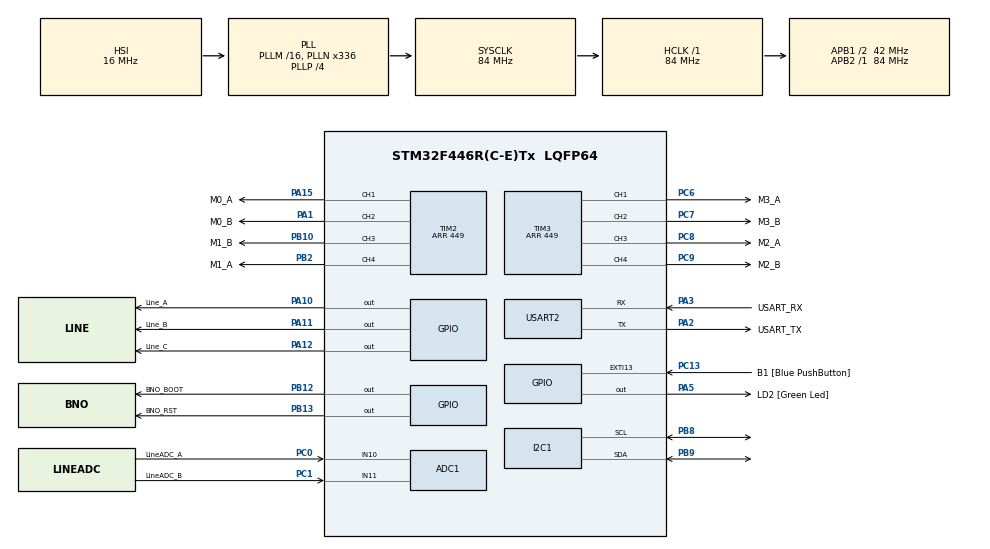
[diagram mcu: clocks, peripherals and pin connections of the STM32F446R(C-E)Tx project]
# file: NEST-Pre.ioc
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ADC1.Channel-0\#ChannelRegularConversion=ADC_CHANNEL_10
ADC1.NbrOfConversionFlag=1
ADC1.Rank-0\#ChannelRegularConversion=1
ADC1.SamplingTime-0\#ChannelRegularConversion=ADC_SAMPLETIME_3CYCLES
ADC1.master=1
I2C1.I2C_Mode=I2C_Fast
Mcu.Family=STM32F4
Mcu.Name=STM32F446R(C-E)Tx
Mcu.Package=LQFP64
NVIC.I2C1_ER_IRQn=true\:0\:0\:false\:false\:true\:true\:true\:true
NVIC.I2C1_EV_IRQn=true\:0\:0\:false\:false\:true\:true\:true\:true
NVIC.PriorityGroup=NVIC_PRIORITYGROUP_0
PA1.GPIO_Label=M0_B
PA1.Signal=S_TIM2_CH2
PA10.GPIO_Label=Line_A
PA10.Signal=GPIO_Output
PA11.GPIO_Label=Line_B
PA11.Signal=GPIO_Output
PA12.GPIO_Label=Line_C
PA12.Signal=GPIO_Output
PA13.GPIO_Label=TMS
PA13.Mode=Serial_Wire
PA13.Signal=SYS_JTMS-SWDIO
PA14.GPIO_Label=TCK
PA14.Mode=Serial_Wire
PA14.Signal=SYS_JTCK-SWCLK
PA15.GPIO_Label=M0_A
PA15.Signal=S_TIM2_CH1_ETR
PA2.GPIO_Label=USART_TX
PA2.Mode=Asynchronous
PA2.Signal=USART2_TX
PA3.GPIO_Label=USART_RX
PA3.Mode=Asynchronous
PA3.Signal=USART2_RX
PA5.GPIO_Label=LD2 [Green Led]
PA5.Signal=GPIO_Output
PB10.GPIO_Label=M1_B
PB10.Signal=S_TIM2_CH3
PB12.GPIO_Label=BNO_BOOT
PB12.Signal=GPIO_Output
PB13.GPIO_Label=BNO_RST
PB13.Signal=GPIO_Output
PB2.GPIO_Label=M1_A
PB2.Signal=S_TIM2_CH4
PB3.GPIO_Label=SWO
PB3.Signal=SYS_JTDO-SWO
PB8.Mode=I2C
PB8.Signal=I2C1_SCL
PB9.Mode=I2C
PB9.Signal=I2C1_SDA
PC0.GPIO_Label=LineADC_A
PC0.Signal=ADCx_IN10
PC1.GPIO_Label=LineADC_B
PC1.Signal=ADCx_IN11
PC13.GPIO_Label=B1 [Blue PushButton]
PC13.GPIO_ModeDefaultEXTI=GPIO_MODE_IT_FALLING
PC13.Signal=GPXTI13
PC14-OSC32_IN.Mode=LSE-External-Oscillator
PC14-OSC32_IN.Signal=RCC_OSC32_IN
PC15-OSC32_OUT.Mode=LSE-External-Oscillator
PC15-OSC32_OUT.Signal=RCC_OSC32_OUT
PC6.GPIO_Label=M3_A
PC6.Signal=S_TIM3_CH1
PC7.GPIO_Label=M3_B
PC7.Signal=S_TIM3_CH2
PC8.GPIO_Label=M2_A
PC8.Signal=S_TIM3_CH3
PC9.GPIO_Label=M2_B
PC9.Signal=S_TIM3_CH4
PH0-OSC_IN.Mode=HSE-External-Oscillator
PH0-OSC_IN.Signal=RCC_OSC_IN
PH1-OSC_OUT.Mode=HSE-External-Oscillator
PH1-OSC_OUT.Signal=RCC_OSC_OUT
ProjectManager.HeapSize=0x200
ProjectManager.StackSize=0x400
ProjectManager.TargetToolchain=STM32CubeIDE
RCC.48MHZClocksFreq_Value=84000000
RCC.AHBFreq_Value=84000000
RCC.APB1CLKDivider=RCC_HCLK_DIV2
RCC.APB1Freq_Value=42000000
RCC.APB1TimFreq_Value=84000000
RCC.APB2Freq_Value=84000000
RCC.APB2TimFreq_Value=84000000
RCC.CortexFreq_Value=84000000
RCC.FLatency-AdvancedSettings=FLASH_LATENCY_2
RCC.HCLKFreq_Value=84000000
RCC.HSE_VALUE=8000000
RCC.HSI_VALUE=16000000
RCC.PLLN=336
RCC.PLLP=RCC_PLLP_DIV4
RCC.SYSCLKFreq_VALUE=84000000
RCC.SYSCLKSource=RCC_SYSCLKSOURCE_PLLCLK
RCC.USBFreq_Value=168000000
RCC.VCOOutputFreq_Value=336000000
SH.ADCx_IN10.0=ADC1_IN10,IN10
SH.ADCx_IN11.0=ADC1_IN11,IN11
SH.S_TIM2_CH1_ETR.0=TIM2_CH1,PWM Generation1 CH1
SH.S_TIM2_CH2.0=TIM2_CH2,PWM Generation2 CH2
SH.S_TIM2_CH3.0=TIM2_CH3,PWM Generation3 CH3
SH.S_TIM2_CH4.0=TIM2_CH4,PWM Generation4 CH4
SH.S_TIM3_CH1.0=TIM3_CH1,PWM Generation1 CH1
SH.S_TIM3_CH2.0=TIM3_CH2,PWM Generation2 CH2
SH.S_TIM3_CH3.0=TIM3_CH3,PWM Generation3 CH3
SH.S_TIM3_CH4.0=TIM3_CH4,PWM Generation4 CH4
TIM2.Channel-PWM\ Generation1\ CH1=TIM_CHANNEL_1
TIM2.Channel-PWM\ Generation2\ CH2=TIM_CHANNEL_2
TIM2.Channel-PWM\ Generation3\ CH3=TIM_CHANNEL_3
TIM2.Channel-PWM\ Generation4\ CH4=TIM_CHANNEL_4
TIM2.Period=449
TIM3.Channel-PWM\ Generation1\ CH1=TIM_CHANNEL_1
TIM3.Channel-PWM\ Generation2\ CH2=TIM_CHANNEL_2
TIM3.Channel-PWM\ Generation3\ CH3=TIM_CHANNEL_3
TIM3.Channel-PWM\ Generation4\ CH4=TIM_CHANNEL_4
TIM3.Period=449
TIM5.Channel-Output\ Compare1\ No\ Output=TIM_CHANNEL_1
USART2.VirtualMode=VM_ASYNC
VP_TIM5_VS_no_output1.Mode=Output Compare1 No Output
board=NUCLEO-F446RE

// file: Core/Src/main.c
/* USER CODE BEGIN Header */
/**
 ******************************************************************************
 * @file           : main.c
 * @brief          : Main program body
 ******************************************************************************
 * @attention
 *
 * Copyright (c) 2024 STMicroelectronics.
 * All rights reserved.
 *
 * This software is licensed under terms that can be found in the LICENSE file
 * in the root directory of this software component.
 * If no LICENSE file comes with this software, it is provided AS-IS.
 *
 ******************************************************************************
 */
/* USER CODE END Header */
#include "main.h"

/* USER CODE BEGIN Includes */
#include <stdio.h>
#include <math.h>

#include "bno08x.h"
#include "bno08x_i2c_f446.h"
/* USER CODE END Includes */

ADC_HandleTypeDef hadc1;

I2C_HandleTypeDef hi2c1;

TIM_HandleTypeDef htim2;
TIM_HandleTypeDef htim3;
TIM_HandleTypeDef htim5;

UART_HandleTypeDef huart2;

/* USER CODE BEGIN PV */
#define DEG2RAD (M_PI / 180.0)
#define RAD2DEG (180.0 / M_PI)

#define COMPARE_DIV (512 / 498)
#define COMPRE_MAX (498)

#define WHEEL_R (1)
#define FR (45)
#define FL (-45)
#define RR (135)
#define RL (-135)

#define MOTOR_OUTPUT_PERIOD 5
#define ADC_SMPL_PERIOD 100

#define Kp 1200
#define Ti 10000
#define Td 0.05

#define LINE_SENSOR_NUM 16
#define LINE_SENSOR_OFFSET 0
#define LINE_SENSOR_VEC_MUL 1000
#define LINE_SENSOR_ONE_ANGLE (M_PI * 2 / LINE_SENSOR_NUM)

// all rad
float imu_x = 0;
float imu_y = 0;
float imu_roll = 0; // roll

float target_angle = 0;
float motor_angle_u = 0;

typedef struct {
	uint32_t x;
	uint32_t y;
} int32_vector2_t;

typedef struct {
	int32_t x;
	int32_t y;
} uint32_vector2_t;

typedef struct {
	float x;
	float y;
} float_vector2_t;

uint32_vector2_t line_vec[LINE_SENSOR_NUM] = { 0 };
/* USER CODE END PV */

void SystemClock_Config(void);
static void MX_GPIO_Init(void);
static void MX_USART2_UART_Init(void);
static void MX_TIM2_Init(void);
static void MX_TIM3_Init(void);
static void MX_I2C1_Init(void);
static void MX_TIM5_Init(void);
static void MX_ADC1_Init(void);

/* USER CODE BEGIN 0 */
int max_int(int val, int min, int max) {
	if (val > max) {
		return max;
	} else if (val < min) {
		return min;
	} else {
		return val;
	}
}

void set_fr(int p) {
	int ch_a = 0;
	int ch_b = 0;
	if (p > 0) {
		ch_a = (int) ((float) p / COMPARE_DIV);
		ch_b = 0;
	} else if (p < 0) {
		ch_a = 0;
		ch_b = (int) (-((float) p) / COMPARE_DIV);
	} else {
		ch_a = 0;
		ch_b = 0;
	}

	ch_a = max_int(ch_a, 0, COMPRE_MAX);
	ch_b = max_int(ch_b, 0, COMPRE_MAX);

	__HAL_TIM_SET_COMPARE(&htim2, TIM_CHANNEL_1, ch_a);
	__HAL_TIM_SET_COMPARE(&htim2, TIM_CHANNEL_2, ch_b);
}

// Motor

void set_fl(int p) {
	int ch_a = 0;
	int ch_b = 0;
	if (p > 0) {
		ch_a = (int) ((float) p / COMPARE_DIV);
		ch_b = 0;
	} else if (p < 0) {
		ch_a = 0;
		ch_b = (int) (-((float) p) / COMPARE_DIV);
	} else {
		ch_a = 0;
		ch_b = 0;
	}

	ch_a = max_int(ch_a, 0, COMPRE_MAX);
	ch_b = max_int(ch_b, 0, COMPRE_MAX);

	__HAL_TIM_SET_COMPARE(&htim3, TIM_CHANNEL_3, ch_a);
	__HAL_TIM_SET_COMPARE(&htim3, TIM_CHANNEL_4, ch_b);
}

void set_rr(int p) {
	int ch_a = 0;
	int ch_b = 0;
	if (p > 0) {
		ch_a = (int) ((float) p / COMPARE_DIV);
		ch_b = 0;
	} else if (p < 0) {
		ch_a = 0;
		ch_b = (int) (-((float) p) / COMPARE_DIV);
	} else {
		ch_a = 0;
		ch_b = 0;
	}

	ch_a = max_int(ch_a, 0, COMPRE_MAX);
	ch_b = max_int(ch_b, 0, COMPRE_MAX);

	__HAL_TIM_SET_COMPARE(&htim2, TIM_CHANNEL_3, ch_b); // Reversed
	__HAL_TIM_SET_COMPARE(&htim2, TIM_CHANNEL_4, ch_a); // Reversed
}

void set_rl(int p) {
	int ch_a = 0;
	int ch_b = 0;
	if (p > 0) {
		ch_a = (int) ((float) p / COMPARE_DIV);
		ch_b = 0;
	} else if (p < 0) {
		ch_a = 0;
		ch_b = (int) (-((float) p) / COMPARE_DIV);
	} else {
		ch_a = 0;
		ch_b = 0;
	}

	ch_a = max_int(ch_a, 0, COMPRE_MAX);
	ch_b = max_int(ch_b, 0, COMPRE_MAX);

	__HAL_TIM_SET_COMPARE(&htim3, TIM_CHANNEL_1, ch_a);
	__HAL_TIM_SET_COMPARE(&htim3, TIM_CHANNEL_2, ch_b);
}

// Thank you Shirokuma
float calcMotorSpeed(float angle, float speed, float motorAngle) {
	return sin((angle - motorAngle) * DEG2RAD) * speed;
}

float calcWorldMotorSpeed(float motorAngle, float wheel_r, float angle,
		float speed_x, float speed_y, float speed_angle) {
	return (-sin(angle + motorAngle) * cos(angle) * speed_x
			+ cos(angle + motorAngle) * cos(angle) * speed_y + speed_angle)
			/ wheel_r;
}

// -512 ~ 512
void move(float angle, float speed) {
	set_fr((int) calcMotorSpeed(angle, speed, 45));
	set_fl((int) calcMotorSpeed(angle, speed, -45));
	set_rr((int) calcMotorSpeed(angle, speed, 135));
	set_rl((int) calcMotorSpeed(angle, speed, -135));
}

void moveWorld(float x, float y, float world_angle, float theta) {
	set_fr(calcWorldMotorSpeed(FR, WHEEL_R, world_angle, x, y, theta));
	set_fl(calcWorldMotorSpeed(FL, WHEEL_R, world_angle, x, y, theta));
	set_rr(calcWorldMotorSpeed(RR, WHEEL_R, world_angle, x, y, theta));
	set_rl(calcWorldMotorSpeed(RL, WHEEL_R, world_angle, x, y, theta));
}

void rotate(float theta) {
	set_fr(theta);
	set_fl(theta);
	set_rr(theta);
	set_rl(theta);
}

int read_line_sensor(int id) {
	HAL_GPIO_WritePin(Line_A_GPIO_Port, Line_A_Pin, id & 0b0001);
	HAL_GPIO_WritePin(Line_B_GPIO_Port, Line_B_Pin, (id & 0b0010) >> 1);
	HAL_GPIO_WritePin(Line_C_GPIO_Port, Line_C_Pin, (id & 0b0100) >> 2);

	ADC_ChannelConfTypeDef sConfig = { 0 };
	sConfig.Rank = 1;
	sConfig.SamplingTime = ADC_SAMPLETIME_3CYCLES;

	sConfig.Channel = (id & 0b1000) >> 3 ? ADC_CHANNEL_10 : ADC_CHANNEL_11;

	if (HAL_ADC_ConfigChannel(&hadc1, &sConfig) != HAL_OK) {
		Error_Handler();
	}

	int val = -1;

	HAL_ADC_Start(&hadc1);
	if (HAL_ADC_PollForConversion(&hadc1, 100) == HAL_OK) {
		val = HAL_ADC_GetValue(&hadc1);
	}
	HAL_ADC_Stop(&hadc1);

	return val;
}

void init_line_sensor_vec() {
	for (int i = 0; i < LINE_SENSOR_NUM; i++) {
		line_vec[i].x = cos(
		LINE_SENSOR_OFFSET + LINE_SENSOR_ONE_ANGLE * i) * LINE_SENSOR_VEC_MUL;
		line_vec[i].y = sin(
		LINE_SENSOR_OFFSET + LINE_SENSOR_ONE_ANGLE * i) * LINE_SENSOR_VEC_MUL;
	}
}

void line_sensor_angle(float_vector2_t *v, int *max) {
	uint32_vector2_t sum = { x: 0, y: 0 };
	v->x = 0;
	v->y = 0;
	*max = 0;

	for (int i = 0; i < LINE_SENSOR_NUM; i++) {
		int val = read_line_sensor(i);
		if (val > *max) {
			*max = val;
		}
		sum.x += line_vec[i].x * val;
		sum.y += line_vec[i].y * val;
	}

	printf("%ld, %ld\n", sum.x, sum.y);

	float_vector2_t f_sum = { x: (sum.x / LINE_SENSOR_VEC_MUL), y: (sum.y
			/ LINE_SENSOR_VEC_MUL) };

	float div = sqrt(f_sum.x * f_sum.x + f_sum.y * f_sum.y);

	v->x = f_sum.x / div;
	v->y = f_sum.y / div;

//	atan2(sum.x, sum.y);
}

//float PID(float c, float pos) {
//	static float e = 0, ei = 0, ed = 0, e_pre = 0;
//
//	e = c - pos;
//	ei += e * (PID_SMPL_PERIOD * 1e-3);
//	ed = (e - e_pre) / (PID_SMPL_PERIOD * 1e-3);
//	e_pre = e;
//
//	return Kp * (e + 1 / Ti * ei + Td * ed);
//}

//void testmove(int angle, int speed) {
//	for (int i = 0; i < speed; i += 2) {
//		move(angle, i);
//		HAL_Delay(1);
//	}
//	HAL_Delay(100);
//	for (int i = speed; i > 0; i -= 2) {
//		move(angle, i);
//		HAL_Delay(1);
//	}
//}

void quaternion_to_euler_angle(float x, float y, float z, float w,
		float *eular_x, float *eular_y, float *eular_z) {
	float ysqr = y * y;

	float t0 = 2.0 * (w * x + y * z);
	float t1 = 1.0 - 2.0 * (x * x + ysqr);
	float X = atan2(t0, t1);

	float t2 = 2.0 * (w * y - z * x);
	t2 = (t2 > 1.0) ? 1.0 : t2;
	t2 = (t2 < -1.0) ? -1.0 : t2;
	float Y = asin(t2);

	float t3 = 2.0 * (w * z + x * y);
	float t4 = 1.0 - 2.0 * (ysqr + z * z);

	float Z = atan2(t3, t4);

	*eular_x = X;
	*eular_y = Y;
	*eular_z = Z;

	return;
}

void bno08x_callback(bno08x_data_t *data) {
//	printf("%f, %f, %f, %f\n", data->gameRotationVector.i,
//			data->gameRotationVector.j, data->gameRotationVector.k,
//			data->gameRotationVector.real);
	quaternion_to_euler_angle(data->gameRotationVector.i,
			data->gameRotationVector.j, data->gameRotationVector.k,
			data->gameRotationVector.real, &imu_x, &imu_y, &imu_roll);
//	printf("%f, %f, %f\n", imu_x, imu_y, imu_roll);

	static int t_pre = 0;
	int t = HAL_GetTick();

	int t_w = t - t_pre;

	static float e = 0, ei = 0, ed = 0, e_pre = 0;

	e = target_angle - imu_roll;
	ei += e * (t_w * 1e-3);
	ed = (e - e_pre) / (t_w * 1e-3);
	e_pre = e;

	motor_angle_u = Kp * (e + 1 / Ti * ei + Td * ed);

	t_pre = t;
}
//void HAL_I2C_MasterRxCpltCallback(I2C_HandleTypeDef *pI2c) {
//	printf("rx\n");
//}
//
//void HAL_I2C_MasterTxCpltCallback(I2C_HandleTypeDef *pI2c) {
//	printf("tx\n");
//}
/* USER CODE END 0 */

int main(void) {

	/* USER CODE BEGIN 1 */
	setbuf(stdout, NULL);
	/* USER CODE END 1 */

	/* MCU Configuration--------------------------------------------------------*/

	/* Reset of all peripherals, Initializes the Flash interface and the Systick. */
	HAL_Init();

	/* USER CODE BEGIN Init */
//	nvic_init();
	/* USER CODE END Init */

	/* Configure the system clock */
	SystemClock_Config();

	/* Initialize all configured peripherals */
	MX_GPIO_Init();
	MX_USART2_UART_Init();
	MX_TIM2_Init();
	MX_TIM3_Init();
	MX_I2C1_Init();
	MX_TIM5_Init();
	MX_ADC1_Init();
	/* USER CODE BEGIN 2 */
	printf("start\n");
	i2c_hal_t *hal = bno08x_init_i2c();
	if (hal == NULL) {
		printf("error while init!\n");
	}
	printf("main: bno08x_init_i2c\n");
	bno08x_open(hal, bno08x_callback);
	printf("main: opened\n");

// M0
	HAL_TIM_PWM_Start(&htim2, TIM_CHANNEL_1);
	HAL_TIM_PWM_Start(&htim2, TIM_CHANNEL_2);

// M1
	HAL_TIM_PWM_Start(&htim2, TIM_CHANNEL_3);
	HAL_TIM_PWM_Start(&htim2, TIM_CHANNEL_4);

// M3
	HAL_TIM_PWM_Start(&htim3, TIM_CHANNEL_3);
	HAL_TIM_PWM_Start(&htim3, TIM_CHANNEL_4);

// M4
	HAL_TIM_PWM_Start(&htim3, TIM_CHANNEL_1);
	HAL_TIM_PWM_Start(&htim3, TIM_CHANNEL_2);

	init_line_sensor_vec();

	printf("i'm entering loop\n");

	float_vector2_t v = { x:0, y:0 };
	int line_max = 0;
	/* USER CODE END 2 */

	/* Infinite loop */
	/* USER CODE BEGIN WHILE */
	while (1) {
//		for (int i = 90; i < 450; i++) {
//			move(i, 512);
//			HAL_Delay(3);
//		}
		bno08x_update();

		uint32_t tick = HAL_GetTick();
		if (tick % MOTOR_OUTPUT_PERIOD == 0) {
//			rotate(-motor_u);
		}

		if (tick % ADC_SMPL_PERIOD == 0) {
//			for (int i = 0; i < 16; i++) {
//				int val = read_line_sensor(i);
//				printf("%d,", val);
//			}
//			printf("\n");

			line_sensor_angle(&v, &line_max);
			printf("%f, %f, %d\n", v.x, v.y, line_max);
		}

		if (line_max < 1000)
		{
			v.x = 0;
			v.y = 0;
		}

		moveWorld(v.x * 1000, v.y * 1000, 0, -motor_angle_u);
//		printf("%f\n", motor_angle_u);
		/* USER CODE END WHILE */

	}
}

void SystemClock_Config(void) {
	RCC_OscInitTypeDef RCC_OscInitStruct = { 0 };
	RCC_ClkInitTypeDef RCC_ClkInitStruct = { 0 };

	/** Configure the main internal regulator output voltage
	 */
	__HAL_RCC_PWR_CLK_ENABLE();
	__HAL_PWR_VOLTAGESCALING_CONFIG(PWR_REGULATOR_VOLTAGE_SCALE3);

	/** Initializes the RCC Oscillators according to the specified parameters
	 * in the RCC_OscInitTypeDef structure.
	 */
	RCC_OscInitStruct.OscillatorType = RCC_OSCILLATORTYPE_HSI;
	RCC_OscInitStruct.HSIState = RCC_HSI_ON;
	RCC_OscInitStruct.HSICalibrationValue = RCC_HSICALIBRATION_DEFAULT;
	RCC_OscInitStruct.PLL.PLLState = RCC_PLL_ON;
	RCC_OscInitStruct.PLL.PLLSource = RCC_PLLSOURCE_HSI;
	RCC_OscInitStruct.PLL.PLLM = 16;
	RCC_OscInitStruct.PLL.PLLN = 336;
	RCC_OscInitStruct.PLL.PLLP = RCC_PLLP_DIV4;
	RCC_OscInitStruct.PLL.PLLQ = 2;
	RCC_OscInitStruct.PLL.PLLR = 2;
	if (HAL_RCC_OscConfig(&RCC_OscInitStruct) != HAL_OK) {
		Error_Handler();
	}

	/** Initializes the CPU, AHB and APB buses clocks
	 */
	RCC_ClkInitStruct.ClockType = RCC_CLOCKTYPE_HCLK | RCC_CLOCKTYPE_SYSCLK
			| RCC_CLOCKTYPE_PCLK1 | RCC_CLOCKTYPE_PCLK2;
	RCC_ClkInitStruct.SYSCLKSource = RCC_SYSCLKSOURCE_PLLCLK;
	RCC_ClkInitStruct.AHBCLKDivider = RCC_SYSCLK_DIV1;
	RCC_ClkInitStruct.APB1CLKDivider = RCC_HCLK_DIV2;
	RCC_ClkInitStruct.APB2CLKDivider = RCC_HCLK_DIV1;

	if (HAL_RCC_ClockConfig(&RCC_ClkInitStruct, FLASH_LATENCY_2) != HAL_OK) {
		Error_Handler();
	}
}

static void MX_ADC1_Init(void) {

	ADC_ChannelConfTypeDef sConfig = { 0 };

	/** Configure the global features of the ADC (Clock, Resolution, Data Alignment and number of conversion)
	 */
	hadc1.Instance = ADC1;
	hadc1.Init.ClockPrescaler = ADC_CLOCK_SYNC_PCLK_DIV4;
	hadc1.Init.Resolution = ADC_RESOLUTION_12B;
	hadc1.Init.ScanConvMode = DISABLE;
	hadc1.Init.ContinuousConvMode = DISABLE;
	hadc1.Init.DiscontinuousConvMode = DISABLE;
	hadc1.Init.ExternalTrigConvEdge = ADC_EXTERNALTRIGCONVEDGE_NONE;
	hadc1.Init.ExternalTrigConv = ADC_SOFTWARE_START;
	hadc1.Init.DataAlign = ADC_DATAALIGN_RIGHT;
	hadc1.Init.NbrOfConversion = 1;
	hadc1.Init.DMAContinuousRequests = DISABLE;
	hadc1.Init.EOCSelection = ADC_EOC_SINGLE_CONV;
	if (HAL_ADC_Init(&hadc1) != HAL_OK) {
		Error_Handler();
	}

	/** Configure for the selected ADC regular channel its corresponding rank in the sequencer and its sample time.
	 */
	sConfig.Channel = ADC_CHANNEL_10;
	sConfig.Rank = 1;
	sConfig.SamplingTime = ADC_SAMPLETIME_3CYCLES;
	if (HAL_ADC_ConfigChannel(&hadc1, &sConfig) != HAL_OK) {
		Error_Handler();
	}

}

static void MX_I2C1_Init(void) {

	hi2c1.Instance = I2C1;
	hi2c1.Init.ClockSpeed = 400000;
	hi2c1.Init.DutyCycle = I2C_DUTYCYCLE_2;
	hi2c1.Init.OwnAddress1 = 0;
	hi2c1.Init.AddressingMode = I2C_ADDRESSINGMODE_7BIT;
	hi2c1.Init.DualAddressMode = I2C_DUALADDRESS_DISABLE;
	hi2c1.Init.OwnAddress2 = 0;
	hi2c1.Init.GeneralCallMode = I2C_GENERALCALL_DISABLE;
	hi2c1.Init.NoStretchMode = I2C_NOSTRETCH_DISABLE;
	if (HAL_I2C_Init(&hi2c1) != HAL_OK) {
		Error_Handler();
	}
	/* USER CODE BEGIN I2C1_Init 2 */
	HAL_NVIC_SetPriority(I2C1_EV_IRQn, 5, 0);
	HAL_NVIC_SetPriority(I2C1_ER_IRQn, 5, 0);
	/* USER CODE END I2C1_Init 2 */

}

static void MX_TIM2_Init(void) {

	TIM_MasterConfigTypeDef sMasterConfig = { 0 };
	TIM_OC_InitTypeDef sConfigOC = { 0 };

	htim2.Instance = TIM2;
	htim2.Init.Prescaler = 0;
	htim2.Init.CounterMode = TIM_COUNTERMODE_UP;
	htim2.Init.Period = 449;
	htim2.Init.ClockDivision = TIM_CLOCKDIVISION_DIV1;
	htim2.Init.AutoReloadPreload = TIM_AUTORELOAD_PRELOAD_DISABLE;
	if (HAL_TIM_PWM_Init(&htim2) != HAL_OK) {
		Error_Handler();
	}
	sMasterConfig.MasterOutputTrigger = TIM_TRGO_RESET;
	sMasterConfig.MasterSlaveMode = TIM_MASTERSLAVEMODE_DISABLE;
	if (HAL_TIMEx_MasterConfigSynchronization(&htim2, &sMasterConfig)
			!= HAL_OK) {
		Error_Handler();
	}
	sConfigOC.OCMode = TIM_OCMODE_PWM1;
	sConfigOC.Pulse = 0;
	sConfigOC.OCPolarity = TIM_OCPOLARITY_HIGH;
	sConfigOC.OCFastMode = TIM_OCFAST_DISABLE;
	if (HAL_TIM_PWM_ConfigChannel(&htim2, &sConfigOC, TIM_CHANNEL_1)
			!= HAL_OK) {
		Error_Handler();
	}
	if (HAL_TIM_PWM_ConfigChannel(&htim2, &sConfigOC, TIM_CHANNEL_2)
			!= HAL_OK) {
		Error_Handler();
	}
	if (HAL_TIM_PWM_ConfigChannel(&htim2, &sConfigOC, TIM_CHANNEL_3)
			!= HAL_OK) {
		Error_Handler();
	}
	if (HAL_TIM_PWM_ConfigChannel(&htim2, &sConfigOC, TIM_CHANNEL_4)
			!= HAL_OK) {
		Error_Handler();
	}
	HAL_TIM_MspPostInit(&htim2);

}

static void MX_TIM3_Init(void) {

	TIM_MasterConfigTypeDef sMasterConfig = { 0 };
	TIM_OC_InitTypeDef sConfigOC = { 0 };

	htim3.Instance = TIM3;
	htim3.Init.Prescaler = 0;
	htim3.Init.CounterMode = TIM_COUNTERMODE_UP;
	htim3.Init.Period = 449;
	htim3.Init.ClockDivision = TIM_CLOCKDIVISION_DIV1;
	htim3.Init.AutoReloadPreload = TIM_AUTORELOAD_PRELOAD_DISABLE;
	if (HAL_TIM_PWM_Init(&htim3) != HAL_OK) {
		Error_Handler();
	}
	sMasterConfig.MasterOutputTrigger = TIM_TRGO_RESET;
	sMasterConfig.MasterSlaveMode = TIM_MASTERSLAVEMODE_DISABLE;
	if (HAL_TIMEx_MasterConfigSynchronization(&htim3, &sMasterConfig)
			!= HAL_OK) {
		Error_Handler();
	}
	sConfigOC.OCMode = TIM_OCMODE_PWM1;
	sConfigOC.Pulse = 0;
	sConfigOC.OCPolarity = TIM_OCPOLARITY_HIGH;
	sConfigOC.OCFastMode = TIM_OCFAST_DISABLE;
	if (HAL_TIM_PWM_ConfigChannel(&htim3, &sConfigOC, TIM_CHANNEL_1)
			!= HAL_OK) {
		Error_Handler();
	}
	if (HAL_TIM_PWM_ConfigChannel(&htim3, &sConfigOC, TIM_CHANNEL_2)
			!= HAL_OK) {
		Error_Handler();
	}
	if (HAL_TIM_PWM_ConfigChannel(&htim3, &sConfigOC, TIM_CHANNEL_3)
			!= HAL_OK) {
		Error_Handler();
	}
	if (HAL_TIM_PWM_ConfigChannel(&htim3, &sConfigOC, TIM_CHANNEL_4)
			!= HAL_OK) {
		Error_Handler();
	}
	HAL_TIM_MspPostInit(&htim3);

}

static void MX_TIM5_Init(void) {

	TIM_MasterConfigTypeDef sMasterConfig = { 0 };
	TIM_OC_InitTypeDef sConfigOC = { 0 };

	htim5.Instance = TIM5;
	htim5.Init.Prescaler = 0;
	htim5.Init.CounterMode = TIM_COUNTERMODE_UP;
	htim5.Init.Period = 4294967295;
	htim5.Init.ClockDivision = TIM_CLOCKDIVISION_DIV1;
	htim5.Init.AutoReloadPreload = TIM_AUTORELOAD_PRELOAD_DISABLE;
	if (HAL_TIM_OC_Init(&htim5) != HAL_OK) {
		Error_Handler();
	}
	sMasterConfig.MasterOutputTrigger = TIM_TRGO_RESET;
	sMasterConfig.MasterSlaveMode = TIM_MASTERSLAVEMODE_DISABLE;
	if (HAL_TIMEx_MasterConfigSynchronization(&htim5, &sMasterConfig)
			!= HAL_OK) {
		Error_Handler();
	}
	sConfigOC.OCMode = TIM_OCMODE_TIMING;
	sConfigOC.Pulse = 0;
	sConfigOC.OCPolarity = TIM_OCPOLARITY_HIGH;
	sConfigOC.OCFastMode = TIM_OCFAST_DISABLE;
	if (HAL_TIM_OC_ConfigChannel(&htim5, &sConfigOC, TIM_CHANNEL_1) != HAL_OK) {
		Error_Handler();
	}

}

static void MX_USART2_UART_Init(void) {

	huart2.Instance = USART2;
	huart2.Init.BaudRate = 115200;
	huart2.Init.WordLength = UART_WORDLENGTH_8B;
	huart2.Init.StopBits = UART_STOPBITS_1;
	huart2.Init.Parity = UART_PARITY_NONE;
	huart2.Init.Mode = UART_MODE_TX_RX;
	huart2.Init.HwFlowCtl = UART_HWCONTROL_NONE;
	huart2.Init.OverSampling = UART_OVERSAMPLING_16;
	if (HAL_UART_Init(&huart2) != HAL_OK) {
		Error_Handler();
	}

}

static void MX_GPIO_Init(void) {
	GPIO_InitTypeDef GPIO_InitStruct = { 0 };

	/* GPIO Ports Clock Enable */
	__HAL_RCC_GPIOC_CLK_ENABLE();
	__HAL_RCC_GPIOH_CLK_ENABLE();
	__HAL_RCC_GPIOA_CLK_ENABLE();
	__HAL_RCC_GPIOB_CLK_ENABLE();

	/*Configure GPIO pin Output Level */
	HAL_GPIO_WritePin(GPIOA, LD2_Pin | Line_A_Pin | Line_B_Pin | Line_C_Pin,
			GPIO_PIN_RESET);

	/*Configure GPIO pin Output Level */
	HAL_GPIO_WritePin(GPIOB, BNO_BOOT_Pin | BNO_RST_Pin, GPIO_PIN_RESET);

	/*Configure GPIO pin : B1_Pin */
	GPIO_InitStruct.Pin = B1_Pin;
	GPIO_InitStruct.Mode = GPIO_MODE_IT_FALLING;
	GPIO_InitStruct.Pull = GPIO_NOPULL;
	HAL_GPIO_Init(B1_GPIO_Port, &GPIO_InitStruct);

	/*Configure GPIO pins : LD2_Pin Line_A_Pin Line_B_Pin Line_C_Pin */
	GPIO_InitStruct.Pin = LD2_Pin | Line_A_Pin | Line_B_Pin | Line_C_Pin;
	GPIO_InitStruct.Mode = GPIO_MODE_OUTPUT_PP;
	GPIO_InitStruct.Pull = GPIO_NOPULL;
	GPIO_InitStruct.Speed = GPIO_SPEED_FREQ_LOW;
	HAL_GPIO_Init(GPIOA, &GPIO_InitStruct);

	/*Configure GPIO pins : BNO_BOOT_Pin BNO_RST_Pin */
	GPIO_InitStruct.Pin = BNO_BOOT_Pin | BNO_RST_Pin;
	GPIO_InitStruct.Mode = GPIO_MODE_OUTPUT_PP;
	GPIO_InitStruct.Pull = GPIO_NOPULL;
	GPIO_InitStruct.Speed = GPIO_SPEED_FREQ_LOW;
	HAL_GPIO_Init(GPIOB, &GPIO_InitStruct);

}

/* USER CODE BEGIN 4 */
int _write(int file, char *ptr, int len) {
	HAL_UART_Transmit(&huart2, (uint8_t*) ptr, len, 10);
	return len;
}
/* USER CODE END 4 */

void Error_Handler(void) {
	/* USER CODE BEGIN Error_Handler_Debug */
	/* User can add his own implementation to report the HAL error return state */
	__disable_irq();
	while (1) {
		printf("Error_Handler\n");
	}
	/* USER CODE END Error_Handler_Debug */
}
